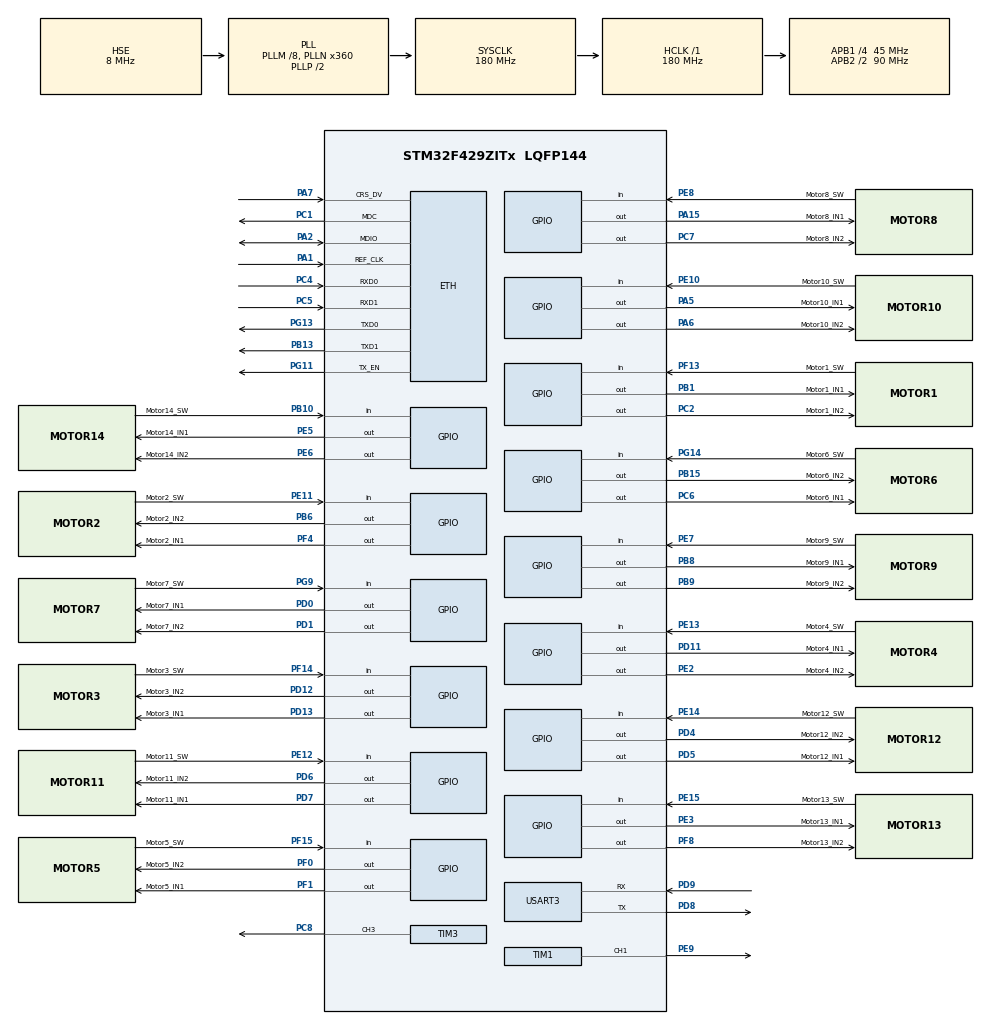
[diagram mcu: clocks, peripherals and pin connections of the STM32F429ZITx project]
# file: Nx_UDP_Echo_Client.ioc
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ETH.ChecksumMode=ETH_CHECKSUM_BY_HARDWARE
ETH.MACAddr=00\:11\:83\:45\:26\:20
ETH.MediaInterface=HAL_ETH_RMII_MODE
ETH.PhyAddress=0
ETH.RxMode=ETH_RXINTERRUPT_MODE
Mcu.Family=STM32F4
Mcu.Name=STM32F429ZITx
Mcu.Package=LQFP144
NVIC.ETH_IRQn=true\:7\:0\:true\:false\:true\:false\:false\:true\:true
NVIC.PriorityGroup=NVIC_PRIORITYGROUP_4
NVIC.TIM2_IRQn=true\:0\:0\:false\:false\:true\:false\:true\:true\:true
NVIC.TIM6_DAC_IRQn=true\:15\:0\:false\:false\:true\:false\:false\:true\:true
NVIC.TimeBase=TIM6_DAC_IRQn
NVIC.TimeBaseIP=TIM6
PA1.Mode=RMII
PA1.Signal=ETH_REF_CLK
PA15.GPIO_Label=Motor8_IN1
PA15.Signal=GPIO_Output
PA2.Mode=RMII
PA2.Signal=ETH_MDIO
PA5.GPIO_Label=Motor10_IN1
PA5.Signal=GPIO_Output
PA6.GPIO_Label=Motor10_IN2
PA6.Signal=GPIO_Output
PA7.Mode=RMII
PA7.Signal=ETH_CRS_DV
PB1.GPIO_Label=Motor1_IN1
PB1.Signal=GPIO_Output
PB10.GPIO_Label=Motor14_SW
PB10.GPIO_PuPd=GPIO_PULLUP
PB10.Signal=GPIO_Input
PB13.Mode=RMII
PB13.Signal=ETH_TXD1
PB15.GPIO_Label=Motor6_IN2
PB15.Signal=GPIO_Output
PB6.GPIO_Label=Motor2_IN2
PB6.Signal=GPIO_Output
PB8.GPIO_Label=Motor9_IN1
PB8.Signal=GPIO_Output
PB9.GPIO_Label=Motor9_IN2
PB9.Signal=GPIO_Output
PC1.Mode=RMII
PC1.Signal=ETH_MDC
PC2.GPIO_Label=Motor1_IN2
PC2.Signal=GPIO_Output
PC4.Mode=RMII
PC4.Signal=ETH_RXD0
PC5.Mode=RMII
PC5.Signal=ETH_RXD1
PC6.GPIO_Label=Motor6_IN1
PC6.Signal=GPIO_Output
PC7.GPIO_Label=Motor8_IN2
PC7.Signal=GPIO_Output
PC8.Signal=S_TIM3_CH3
PD0.GPIO_Label=Motor7_IN1
PD0.Signal=GPIO_Output
PD1.GPIO_Label=Motor7_IN2
PD1.Signal=GPIO_Output
PD11.GPIO_Label=Motor4_IN1
PD11.Signal=GPIO_Output
PD12.GPIO_Label=Motor3_IN2
PD12.Signal=GPIO_Output
PD13.GPIO_Label=Motor3_IN1
PD13.Signal=GPIO_Output
PD4.GPIO_Label=Motor12_IN2
PD4.Signal=GPIO_Output
PD5.GPIO_Label=Motor12_IN1
PD5.Signal=GPIO_Output
PD6.GPIO_Label=Motor11_IN2
PD6.Signal=GPIO_Output
PD7.GPIO_Label=Motor11_IN1
PD7.Signal=GPIO_Output
PD8.Mode=Asynchronous
PD8.Signal=USART3_TX
PD9.Mode=Asynchronous
PD9.Signal=USART3_RX
PE10.GPIO_Label=Motor10_SW
PE10.GPIO_PuPd=GPIO_PULLUP
PE10.Signal=GPIO_Input
PE11.GPIO_Label=Motor2_SW
PE11.GPIO_PuPd=GPIO_PULLUP
PE11.Signal=GPIO_Input
PE12.GPIO_Label=Motor11_SW
PE12.GPIO_PuPd=GPIO_PULLUP
PE12.Signal=GPIO_Input
PE13.GPIO_Label=Motor4_SW
PE13.GPIO_PuPd=GPIO_PULLUP
PE13.Signal=GPIO_Input
PE14.GPIO_Label=Motor12_SW
PE14.GPIO_PuPd=GPIO_PULLUP
PE14.Signal=GPIO_Input
PE15.GPIO_Label=Motor13_SW
PE15.GPIO_PuPd=GPIO_PULLUP
PE15.Signal=GPIO_Input
PE2.GPIO_Label=Motor4_IN2
PE2.Signal=GPIO_Output
PE3.GPIO_Label=Motor13_IN1
PE3.Signal=GPIO_Output
PE5.GPIO_Label=Motor14_IN1
PE5.Signal=GPIO_Output
PE6.GPIO_Label=Motor14_IN2
PE6.Signal=GPIO_Output
PE7.GPIO_Label=Motor9_SW
PE7.GPIO_PuPd=GPIO_PULLUP
PE7.Signal=GPIO_Input
PE8.GPIO_Label=Motor8_SW
PE8.GPIO_PuPd=GPIO_PULLUP
PE8.Signal=GPIO_Input
PE9.Signal=S_TIM1_CH1
PF0.GPIO_Label=Motor5_IN2
PF0.Signal=GPIO_Output
PF1.GPIO_Label=Motor5_IN1
PF1.Signal=GPIO_Output
PF13.GPIO_Label=Motor1_SW
PF13.GPIO_PuPd=GPIO_PULLUP
PF13.Signal=GPIO_Input
PF14.GPIO_Label=Motor3_SW
PF14.GPIO_PuPd=GPIO_PULLUP
PF14.Signal=GPIO_Input
PF15.GPIO_Label=Motor5_SW
PF15.GPIO_PuPd=GPIO_PULLUP
PF15.Signal=GPIO_Input
PF4.GPIO_Label=Motor2_IN1
PF4.Signal=GPIO_Output
PF8.GPIO_Label=Motor13_IN2
PF8.Signal=GPIO_Output
PG11.Mode=RMII
PG11.Signal=ETH_TX_EN
PG13.Mode=RMII
PG13.Signal=ETH_TXD0
PG14.GPIO_Label=Motor6_SW
PG14.GPIO_PuPd=GPIO_PULLUP
PG14.Signal=GPIO_Input
PG9.GPIO_Label=Motor7_SW
PG9.GPIO_PuPd=GPIO_PULLUP
PG9.Signal=GPIO_Input
PH0/OSC_IN.Mode=HSE-External-Clock-Source
PH0/OSC_IN.Signal=RCC_OSC_IN
PH1/OSC_OUT.Mode=HSE-External-Clock-Source
PH1/OSC_OUT.Signal=RCC_OSC_OUT
ProjectManager.HeapSize=0x200
ProjectManager.StackSize=0x400
ProjectManager.TargetToolchain=STM32CubeIDE
RCC.48MHZClocksFreq_Value=120000000
RCC.AHBFreq_Value=180000000
RCC.APB1CLKDivider=RCC_HCLK_DIV4
RCC.APB1Freq_Value=45000000
RCC.APB1TimFreq_Value=90000000
RCC.APB2CLKDivider=RCC_HCLK_DIV2
RCC.APB2Freq_Value=90000000
RCC.APB2TimFreq_Value=180000000
RCC.CortexFreq_Value=180000000
RCC.HCLKFreq_Value=180000000
RCC.HSE_VALUE=8000000
RCC.HSI_VALUE=16000000
RCC.LSE_VALUE=32768
RCC.PLLM=8
RCC.PLLN=360
RCC.PLLQ=3
RCC.PLLSourceVirtual=RCC_PLLSOURCE_HSE
RCC.SYSCLKFreq_VALUE=180000000
RCC.SYSCLKSource=RCC_SYSCLKSOURCE_PLLCLK
RCC.VCOOutputFreq_Value=360000000
SH.S_TIM1_CH1.0=TIM1_CH1,PWM Generation1 CH1
SH.S_TIM3_CH3.0=TIM3_CH3,PWM Generation3 CH3
STMicroelectronics.X-CUBE-AZRTOS-F4.1.1.0.AZUREIiRTOSIiApplicationsCcDeviceJjApplication=azureIirtosIiapp
STMicroelectronics.X-CUBE-AZRTOS-F4.1.1.0.AZUREIiRTOSIiApplicationsCcDeviceJjHWIiProfile=STM32F429ZIIiNUCLEO
STMicroelectronics.X-CUBE-AZRTOS-F4.1.1.0.InterfacesCcNetworkJjEthernetOoInterface=true
STMicroelectronics.X-CUBE-AZRTOS-F4.1.1.0.InterfacesCcNetworkJjEthernetOoPhyOoInterface=LAN8742IiPhyIiInterface
STMicroelectronics.X-CUBE-AZRTOS-F4.1.1.0.NX_APP_MEM_POOL_SIZE=30 * 1024
STMicroelectronics.X-CUBE-AZRTOS-F4.1.1.0.NX_ENABLE_INTERFACE_CAPABILITY=true
STMicroelectronics.X-CUBE-AZRTOS-F4.1.1.0.NetXDuoCcNetworkJjNetXDuoJjAddonsOoDHCPOoClient=true
STMicroelectronics.X-CUBE-AZRTOS-F4.1.1.0.NetXDuoCcNetworkJjNetXDuoJjNXOoCore=true
STMicroelectronics.X-CUBE-AZRTOS-F4.1.1.0.STM32CubeIiBSPIiComponentsCcBoardOoPartJjETHPhyJjLAN8742=true
STMicroelectronics.X-CUBE-AZRTOS-F4.1.1.0.TX_DISABLE_NOTIFY_CALLBACKS=0
STMicroelectronics.X-CUBE-AZRTOS-F4.1.1.0.TX_DISABLE_PREEMPTION_THRESHOLD=1
STMicroelectronics.X-CUBE-AZRTOS-F4.1.1.0.TX_ENABLE_EXECUTION_CHANGE_NOTIFY=1
STMicroelectronics.X-CUBE-AZRTOS-F4.1.1.0.ThreadXCcRTOSJjThreadXJjCore=true
STMicroelectronics.X-CUBE-AZRTOS-F4.1.1.0_IsAnAzureRtosMw=true
TIM1.Channel-PWM\ Generation1\ CH1=TIM_CHANNEL_1
TIM1.Period=999
TIM1.Pulse-PWM\ Generation1\ CH1=499
TIM2.Period=1000
TIM2.Prescaler=90-1
TIM3.Channel-PWM\ Generation3\ CH3=TIM_CHANNEL_3
TIM3.Period=999
TIM3.Pulse-PWM\ Generation3\ CH3=499
USART3.VirtualMode=VM_ASYNC
VP_STMicroelectronics.X-CUBE-AZRTOS-F4_VS_BoardOoPartJjSTM32CubeIiBSPIiComponents_1.1.0_1.1.0.Mode=BoardOoPartJjSTM32CubeIiBSPIiComponents
VP_STMicroelectronics.X-CUBE-AZRTOS-F4_VS_NetworkJjInterfaces_2.1.0_1.1.0.Mode=NetworkJjInterfaces
VP_STMicroelectronics.X-CUBE-AZRTOS-F4_VS_NetworkJjNetXDuo_6.1.10_1.1.0.Mode=NetworkJjNetXDuo
VP_STMicroelectronics.X-CUBE-AZRTOS-F4_VS_RTOSJjThreadX_6.1.10_1.1.0.Mode=RTOSJjThreadX
VP_SYS_VS_tim6.Mode=TIM6
VP_TIM2_VS_ClockSourceINT.Mode=Internal
board=NUCLEO-F429ZI

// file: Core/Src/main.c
/* USER CODE BEGIN Header */
/**
 ******************************************************************************
 * @file           : main.c
 * @brief          : Main program body
 ******************************************************************************
 * @attention
 *
 * Copyright (c) 2021 STMicroelectronics.
 * All rights reserved.
 *
 * This software is licensed under terms that can be found in the LICENSE file
 * in the root directory of this software component.
 * If no LICENSE file comes with this software, it is provided AS-IS.
 *
 ******************************************************************************
 */
/* USER CODE END Header */
#include "app_threadx.h"
#include "main.h"
#include "string.h"

/* USER CODE BEGIN Includes */
#include <stdio.h>
/* USER CODE END Includes */

/* USER CODE BEGIN PM */
#if defined ( __GNUC__) && !defined(__clang__)
/* With GCC, small printf (option LD Linker->Libraries->Small printf
 set to 'Yes') calls __io_putchar() */
#define PUTCHAR_PROTOTYPE int __io_putchar(int ch)
#else
#define PUTCHAR_PROTOTYPE int fputc(int ch, FILE *f)
#endif /* __GNUC__ */

/* USER CODE END PM */

ETH_TxPacketConfig TxConfig;
ETH_DMADescTypeDef  DMARxDscrTab[ETH_RX_DESC_CNT]; /* Ethernet Rx DMA Descriptors */
ETH_DMADescTypeDef  DMATxDscrTab[ETH_TX_DESC_CNT]; /* Ethernet Tx DMA Descriptors */

ETH_HandleTypeDef heth;

TIM_HandleTypeDef htim1;
TIM_HandleTypeDef htim2;
TIM_HandleTypeDef htim3;

UART_HandleTypeDef huart3;

void SystemClock_Config(void);
static void MX_GPIO_Init(void);
static void MX_ETH_Init(void);
static void MX_USART3_UART_Init(void);
static void MX_TIM1_Init(void);
static void MX_TIM2_Init(void);
static void MX_TIM3_Init(void);

/* USER CODE BEGIN 0 */
typedef struct GPIOPin {
	GPIO_TypeDef *GPIO_Port;
	uint16_t GPIO_Pin;
} GPIOPin;
typedef struct Motor {
	GPIOPin IN1;
	GPIOPin IN2;
	GPIOPin SW;
	uint32_t counter;
	uint32_t swState;
} Motor;
Motor motors[14];
//uint32_t resetCounter;
void Success_Handler(void) {
	BSP_LED_Off(LED_RED);
	while (1) {
		BSP_LED_Toggle(LED_GREEN);
		HAL_Delay(200);
	}
//  HAL_GPIO_WritePin (LED_RED_GPIO_Port, LED_RED_Pin, GPIO_PIN_RESET);
//  while(1)
//  {
//    HAL_GPIO_TogglePin(LED_GREEN_GPIO_Port, LED_GREEN_Pin);
//    tx_thread_sleep(50);
//  }
}
/* USER CODE END 0 */

int main(void)
{

  /* USER CODE BEGIN 1 */
	Motor m[] = { { { Motor1_IN1_GPIO_Port, Motor1_IN1_Pin }, {
			Motor1_IN2_GPIO_Port, Motor1_IN2_Pin }, { Motor1_SW_GPIO_Port,
			Motor1_SW_Pin }, 0, 1 }, { { Motor2_IN1_GPIO_Port, Motor2_IN1_Pin },
			{ Motor2_IN2_GPIO_Port, Motor2_IN2_Pin }, { Motor2_SW_GPIO_Port,
					Motor2_SW_Pin }, 0, 1 }, { { Motor3_IN1_GPIO_Port,
			Motor3_IN1_Pin }, { Motor3_IN2_GPIO_Port, Motor3_IN2_Pin }, {
			Motor3_SW_GPIO_Port, Motor3_SW_Pin }, 0, 1 }, { {
			Motor4_IN1_GPIO_Port, Motor4_IN1_Pin }, { Motor4_IN2_GPIO_Port,
			Motor4_IN2_Pin }, { Motor4_SW_GPIO_Port, Motor4_SW_Pin }, 0, 1 }, {
			{ Motor5_IN1_GPIO_Port, Motor5_IN1_Pin }, { Motor5_IN2_GPIO_Port,
					Motor5_IN2_Pin }, { Motor5_SW_GPIO_Port, Motor5_SW_Pin }, 0,
			1 }, { { Motor6_IN1_GPIO_Port, Motor6_IN1_Pin }, {
			Motor6_IN2_GPIO_Port, Motor6_IN2_Pin }, { Motor6_SW_GPIO_Port,
			Motor6_SW_Pin }, 0, 1 }, { { Motor7_IN1_GPIO_Port, Motor7_IN1_Pin },
			{ Motor7_IN2_GPIO_Port, Motor7_IN2_Pin }, { Motor7_SW_GPIO_Port,
					Motor7_SW_Pin }, 0, 1 }, { { Motor8_IN1_GPIO_Port,
			Motor8_IN1_Pin }, { Motor8_IN2_GPIO_Port, Motor8_IN2_Pin }, {
			Motor8_SW_GPIO_Port, Motor8_SW_Pin }, 0, 1 }, { {
			Motor9_IN1_GPIO_Port, Motor9_IN1_Pin }, { Motor9_IN2_GPIO_Port,
			Motor9_IN2_Pin }, { Motor9_SW_GPIO_Port, Motor9_SW_Pin }, 0, 1 }, {
			{ Motor10_IN1_GPIO_Port, Motor10_IN1_Pin }, { Motor10_IN2_GPIO_Port,
					Motor10_IN2_Pin }, { Motor10_SW_GPIO_Port, Motor10_SW_Pin },
			0, 1 }, { { Motor11_IN1_GPIO_Port, Motor11_IN1_Pin }, {
			Motor11_IN2_GPIO_Port, Motor11_IN2_Pin }, { Motor11_SW_GPIO_Port,
			Motor11_SW_Pin }, 0, 1 }, {
			{ Motor12_IN1_GPIO_Port, Motor12_IN1_Pin }, { Motor12_IN2_GPIO_Port,
					Motor12_IN2_Pin }, { Motor12_SW_GPIO_Port, Motor12_SW_Pin },
			0, 1 }, { { Motor13_IN1_GPIO_Port, Motor13_IN1_Pin }, {
			Motor13_IN2_GPIO_Port, Motor13_IN2_Pin }, { Motor13_SW_GPIO_Port,
			Motor13_SW_Pin }, 0, 1 }, {
			{ Motor14_IN1_GPIO_Port, Motor14_IN1_Pin }, { Motor14_IN2_GPIO_Port,
					Motor14_IN2_Pin }, { Motor14_SW_GPIO_Port, Motor14_SW_Pin },
			0, 1 } };
	for (int i = 0; i < sizeof(motors) / sizeof(motors[0]); i++) {
		motors[i] = m[i];
	}
  /* USER CODE END 1 */

  /* MCU Configuration--------------------------------------------------------*/

  /* Reset of all peripherals, Initializes the Flash interface and the Systick. */
  HAL_Init();

  /* Configure the system clock */
  SystemClock_Config();

  /* USER CODE BEGIN SysInit */
	BSP_LED_Init(LED_GREEN);
	BSP_LED_Init(LED_RED);
  /* USER CODE END SysInit */

  /* Initialize all configured peripherals */
  MX_GPIO_Init();
  MX_ETH_Init();
  MX_USART3_UART_Init();
  MX_TIM1_Init();
  MX_TIM2_Init();
  MX_TIM3_Init();
  /* USER CODE BEGIN 2 */
	HAL_TIM_PWM_Start(&htim1, TIM_CHANNEL_1);
	HAL_TIM_PWM_Start(&htim3, TIM_CHANNEL_3);
	HAL_TIM_Base_Start_IT(&htim2);
	// stop all motors
	for (int i = 0; i < (sizeof(motors) / sizeof(motors[0])); i++) {
		stopMotor(i);
		motors[i].swState = 1;
	}
//	resetCounter = 0;
  /* USER CODE END 2 */

  MX_ThreadX_Init();

  /* We should never get here as control is now taken by the scheduler */

  /* Infinite loop */
	while (1) {

	}
}

void SystemClock_Config(void)
{
  RCC_OscInitTypeDef RCC_OscInitStruct = {0};
  RCC_ClkInitTypeDef RCC_ClkInitStruct = {0};

  /** Configure the main internal regulator output voltage
  */
  __HAL_RCC_PWR_CLK_ENABLE();
  __HAL_PWR_VOLTAGESCALING_CONFIG(PWR_REGULATOR_VOLTAGE_SCALE1);

  /** Initializes the RCC Oscillators according to the specified parameters
  * in the RCC_OscInitTypeDef structure.
  */
  RCC_OscInitStruct.OscillatorType = RCC_OSCILLATORTYPE_HSE;
  RCC_OscInitStruct.HSEState = RCC_HSE_BYPASS;
  RCC_OscInitStruct.PLL.PLLState = RCC_PLL_ON;
  RCC_OscInitStruct.PLL.PLLSource = RCC_PLLSOURCE_HSE;
  RCC_OscInitStruct.PLL.PLLM = 8;
  RCC_OscInitStruct.PLL.PLLN = 360;
  RCC_OscInitStruct.PLL.PLLP = RCC_PLLP_DIV2;
  RCC_OscInitStruct.PLL.PLLQ = 3;
  if (HAL_RCC_OscConfig(&RCC_OscInitStruct) != HAL_OK)
  {
    Error_Handler();
  }

  /** Activate the Over-Drive mode
  */
  if (HAL_PWREx_EnableOverDrive() != HAL_OK)
  {
    Error_Handler();
  }

  /** Initializes the CPU, AHB and APB buses clocks
  */
  RCC_ClkInitStruct.ClockType = RCC_CLOCKTYPE_HCLK|RCC_CLOCKTYPE_SYSCLK
                              |RCC_CLOCKTYPE_PCLK1|RCC_CLOCKTYPE_PCLK2;
  RCC_ClkInitStruct.SYSCLKSource = RCC_SYSCLKSOURCE_PLLCLK;
  RCC_ClkInitStruct.AHBCLKDivider = RCC_SYSCLK_DIV1;
  RCC_ClkInitStruct.APB1CLKDivider = RCC_HCLK_DIV4;
  RCC_ClkInitStruct.APB2CLKDivider = RCC_HCLK_DIV2;

  if (HAL_RCC_ClockConfig(&RCC_ClkInitStruct, FLASH_LATENCY_5) != HAL_OK)
  {
    Error_Handler();
  }
}

static void MX_ETH_Init(void)
{

   static uint8_t MACAddr[6];

  heth.Instance = ETH;
  MACAddr[0] = 0x00;
  MACAddr[1] = 0x11;
  MACAddr[2] = 0x83;
  MACAddr[3] = 0x45;
  MACAddr[4] = 0x26;
  MACAddr[5] = 0x20;
  heth.Init.MACAddr = &MACAddr[0];
  heth.Init.MediaInterface = HAL_ETH_RMII_MODE;
  heth.Init.TxDesc = DMATxDscrTab;
  heth.Init.RxDesc = DMARxDscrTab;
  heth.Init.RxBuffLen = 1536;

  if (HAL_ETH_Init(&heth) != HAL_OK)
  {
    Error_Handler();
  }

  memset(&TxConfig, 0 , sizeof(ETH_TxPacketConfig));
  TxConfig.Attributes = ETH_TX_PACKETS_FEATURES_CSUM | ETH_TX_PACKETS_FEATURES_CRCPAD;
  TxConfig.ChecksumCtrl = ETH_CHECKSUM_IPHDR_PAYLOAD_INSERT_PHDR_CALC;
  TxConfig.CRCPadCtrl = ETH_CRC_PAD_INSERT;

}

static void MX_TIM1_Init(void)
{

  TIM_MasterConfigTypeDef sMasterConfig = {0};
  TIM_OC_InitTypeDef sConfigOC = {0};
  TIM_BreakDeadTimeConfigTypeDef sBreakDeadTimeConfig = {0};

  htim1.Instance = TIM1;
  htim1.Init.Prescaler = 0;
  htim1.Init.CounterMode = TIM_COUNTERMODE_UP;
  htim1.Init.Period = 999;
  htim1.Init.ClockDivision = TIM_CLOCKDIVISION_DIV1;
  htim1.Init.RepetitionCounter = 0;
  htim1.Init.AutoReloadPreload = TIM_AUTORELOAD_PRELOAD_DISABLE;
  if (HAL_TIM_PWM_Init(&htim1) != HAL_OK)
  {
    Error_Handler();
  }
  sMasterConfig.MasterOutputTrigger = TIM_TRGO_RESET;
  sMasterConfig.MasterSlaveMode = TIM_MASTERSLAVEMODE_DISABLE;
  if (HAL_TIMEx_MasterConfigSynchronization(&htim1, &sMasterConfig) != HAL_OK)
  {
    Error_Handler();
  }
  sConfigOC.OCMode = TIM_OCMODE_PWM1;
  sConfigOC.Pulse = 499;
  sConfigOC.OCPolarity = TIM_OCPOLARITY_HIGH;
  sConfigOC.OCNPolarity = TIM_OCNPOLARITY_HIGH;
  sConfigOC.OCFastMode = TIM_OCFAST_DISABLE;
  sConfigOC.OCIdleState = TIM_OCIDLESTATE_RESET;
  sConfigOC.OCNIdleState = TIM_OCNIDLESTATE_RESET;
  if (HAL_TIM_PWM_ConfigChannel(&htim1, &sConfigOC, TIM_CHANNEL_1) != HAL_OK)
  {
    Error_Handler();
  }
  sBreakDeadTimeConfig.OffStateRunMode = TIM_OSSR_DISABLE;
  sBreakDeadTimeConfig.OffStateIDLEMode = TIM_OSSI_DISABLE;
  sBreakDeadTimeConfig.LockLevel = TIM_LOCKLEVEL_OFF;
  sBreakDeadTimeConfig.DeadTime = 0;
  sBreakDeadTimeConfig.BreakState = TIM_BREAK_DISABLE;
  sBreakDeadTimeConfig.BreakPolarity = TIM_BREAKPOLARITY_HIGH;
  sBreakDeadTimeConfig.AutomaticOutput = TIM_AUTOMATICOUTPUT_DISABLE;
  if (HAL_TIMEx_ConfigBreakDeadTime(&htim1, &sBreakDeadTimeConfig) != HAL_OK)
  {
    Error_Handler();
  }
  HAL_TIM_MspPostInit(&htim1);

}

static void MX_TIM2_Init(void)
{

  TIM_ClockConfigTypeDef sClockSourceConfig = {0};
  TIM_MasterConfigTypeDef sMasterConfig = {0};

  htim2.Instance = TIM2;
  htim2.Init.Prescaler = 90-1;
  htim2.Init.CounterMode = TIM_COUNTERMODE_UP;
  htim2.Init.Period = 1000;
  htim2.Init.ClockDivision = TIM_CLOCKDIVISION_DIV1;
  htim2.Init.AutoReloadPreload = TIM_AUTORELOAD_PRELOAD_DISABLE;
  if (HAL_TIM_Base_Init(&htim2) != HAL_OK)
  {
    Error_Handler();
  }
  sClockSourceConfig.ClockSource = TIM_CLOCKSOURCE_INTERNAL;
  if (HAL_TIM_ConfigClockSource(&htim2, &sClockSourceConfig) != HAL_OK)
  {
    Error_Handler();
  }
  sMasterConfig.MasterOutputTrigger = TIM_TRGO_RESET;
  sMasterConfig.MasterSlaveMode = TIM_MASTERSLAVEMODE_DISABLE;
  if (HAL_TIMEx_MasterConfigSynchronization(&htim2, &sMasterConfig) != HAL_OK)
  {
    Error_Handler();
  }

}

static void MX_TIM3_Init(void)
{

  TIM_MasterConfigTypeDef sMasterConfig = {0};
  TIM_OC_InitTypeDef sConfigOC = {0};

  htim3.Instance = TIM3;
  htim3.Init.Prescaler = 0;
  htim3.Init.CounterMode = TIM_COUNTERMODE_UP;
  htim3.Init.Period = 999;
  htim3.Init.ClockDivision = TIM_CLOCKDIVISION_DIV1;
  htim3.Init.AutoReloadPreload = TIM_AUTORELOAD_PRELOAD_DISABLE;
  if (HAL_TIM_PWM_Init(&htim3) != HAL_OK)
  {
    Error_Handler();
  }
  sMasterConfig.MasterOutputTrigger = TIM_TRGO_RESET;
  sMasterConfig.MasterSlaveMode = TIM_MASTERSLAVEMODE_DISABLE;
  if (HAL_TIMEx_MasterConfigSynchronization(&htim3, &sMasterConfig) != HAL_OK)
  {
    Error_Handler();
  }
  sConfigOC.OCMode = TIM_OCMODE_PWM1;
  sConfigOC.Pulse = 499;
  sConfigOC.OCPolarity = TIM_OCPOLARITY_HIGH;
  sConfigOC.OCFastMode = TIM_OCFAST_DISABLE;
  if (HAL_TIM_PWM_ConfigChannel(&htim3, &sConfigOC, TIM_CHANNEL_3) != HAL_OK)
  {
    Error_Handler();
  }
  HAL_TIM_MspPostInit(&htim3);

}

static void MX_USART3_UART_Init(void)
{

  huart3.Instance = USART3;
  huart3.Init.BaudRate = 115200;
  huart3.Init.WordLength = UART_WORDLENGTH_8B;
  huart3.Init.StopBits = UART_STOPBITS_1;
  huart3.Init.Parity = UART_PARITY_NONE;
  huart3.Init.Mode = UART_MODE_TX_RX;
  huart3.Init.HwFlowCtl = UART_HWCONTROL_NONE;
  huart3.Init.OverSampling = UART_OVERSAMPLING_16;
  if (HAL_UART_Init(&huart3) != HAL_OK)
  {
    Error_Handler();
  }

}

static void MX_GPIO_Init(void)
{
  GPIO_InitTypeDef GPIO_InitStruct = {0};

  /* GPIO Ports Clock Enable */
  __HAL_RCC_GPIOE_CLK_ENABLE();
  __HAL_RCC_GPIOF_CLK_ENABLE();
  __HAL_RCC_GPIOH_CLK_ENABLE();
  __HAL_RCC_GPIOC_CLK_ENABLE();
  __HAL_RCC_GPIOA_CLK_ENABLE();
  __HAL_RCC_GPIOB_CLK_ENABLE();
  __HAL_RCC_GPIOD_CLK_ENABLE();
  __HAL_RCC_GPIOG_CLK_ENABLE();

  /*Configure GPIO pin Output Level */
  HAL_GPIO_WritePin(GPIOE, Motor4_IN2_Pin|Motor13_IN1_Pin|Motor14_IN1_Pin|Motor14_IN2_Pin, GPIO_PIN_RESET);

  /*Configure GPIO pin Output Level */
  HAL_GPIO_WritePin(GPIOF, Motor5_IN2_Pin|Motor5_IN1_Pin|Motor2_IN1_Pin|Motor13_IN2_Pin, GPIO_PIN_RESET);

  /*Configure GPIO pin Output Level */
  HAL_GPIO_WritePin(GPIOC, Motor1_IN2_Pin|Motor6_IN1_Pin|Motor8_IN2_Pin, GPIO_PIN_RESET);

  /*Configure GPIO pin Output Level */
  HAL_GPIO_WritePin(GPIOA, Motor10_IN1_Pin|Motor10_IN2_Pin|Motor8_IN1_Pin, GPIO_PIN_RESET);

  /*Configure GPIO pin Output Level */
  HAL_GPIO_WritePin(GPIOB, Motor1_IN1_Pin|Motor6_IN2_Pin|Motor2_IN2_Pin|Motor9_IN1_Pin
                          |Motor9_IN2_Pin, GPIO_PIN_RESET);

  /*Configure GPIO pin Output Level */
  HAL_GPIO_WritePin(GPIOD, Motor4_IN1_Pin|Motor3_IN2_Pin|Motor3_IN1_Pin|Motor7_IN1_Pin
                          |Motor7_IN2_Pin|Motor12_IN2_Pin|Motor12_IN1_Pin|Motor11_IN2_Pin
                          |Motor11_IN1_Pin, GPIO_PIN_RESET);

  /*Configure GPIO pins : Motor4_IN2_Pin Motor13_IN1_Pin Motor14_IN1_Pin Motor14_IN2_Pin */
  GPIO_InitStruct.Pin = Motor4_IN2_Pin|Motor13_IN1_Pin|Motor14_IN1_Pin|Motor14_IN2_Pin;
  GPIO_InitStruct.Mode = GPIO_MODE_OUTPUT_PP;
  GPIO_InitStruct.Pull = GPIO_NOPULL;
  GPIO_InitStruct.Speed = GPIO_SPEED_FREQ_LOW;
  HAL_GPIO_Init(GPIOE, &GPIO_InitStruct);

  /*Configure GPIO pins : Motor5_IN2_Pin Motor5_IN1_Pin Motor2_IN1_Pin Motor13_IN2_Pin */
  GPIO_InitStruct.Pin = Motor5_IN2_Pin|Motor5_IN1_Pin|Motor2_IN1_Pin|Motor13_IN2_Pin;
  GPIO_InitStruct.Mode = GPIO_MODE_OUTPUT_PP;
  GPIO_InitStruct.Pull = GPIO_NOPULL;
  GPIO_InitStruct.Speed = GPIO_SPEED_FREQ_LOW;
  HAL_GPIO_Init(GPIOF, &GPIO_InitStruct);

  /*Configure GPIO pins : Motor1_IN2_Pin Motor6_IN1_Pin Motor8_IN2_Pin */
  GPIO_InitStruct.Pin = Motor1_IN2_Pin|Motor6_IN1_Pin|Motor8_IN2_Pin;
  GPIO_InitStruct.Mode = GPIO_MODE_OUTPUT_PP;
  GPIO_InitStruct.Pull = GPIO_NOPULL;
  GPIO_InitStruct.Speed = GPIO_SPEED_FREQ_LOW;
  HAL_GPIO_Init(GPIOC, &GPIO_InitStruct);

  /*Configure GPIO pins : Motor10_IN1_Pin Motor10_IN2_Pin Motor8_IN1_Pin */
  GPIO_InitStruct.Pin = Motor10_IN1_Pin|Motor10_IN2_Pin|Motor8_IN1_Pin;
  GPIO_InitStruct.Mode = GPIO_MODE_OUTPUT_PP;
  GPIO_InitStruct.Pull = GPIO_NOPULL;
  GPIO_InitStruct.Speed = GPIO_SPEED_FREQ_LOW;
  HAL_GPIO_Init(GPIOA, &GPIO_InitStruct);

  /*Configure GPIO pins : Motor1_IN1_Pin Motor6_IN2_Pin Motor2_IN2_Pin Motor9_IN1_Pin
                           Motor9_IN2_Pin */
  GPIO_InitStruct.Pin = Motor1_IN1_Pin|Motor6_IN2_Pin|Motor2_IN2_Pin|Motor9_IN1_Pin
                          |Motor9_IN2_Pin;
  GPIO_InitStruct.Mode = GPIO_MODE_OUTPUT_PP;
  GPIO_InitStruct.Pull = GPIO_NOPULL;
  GPIO_InitStruct.Speed = GPIO_SPEED_FREQ_LOW;
  HAL_GPIO_Init(GPIOB, &GPIO_InitStruct);

  /*Configure GPIO pins : Motor1_SW_Pin Motor3_SW_Pin Motor5_SW_Pin */
  GPIO_InitStruct.Pin = Motor1_SW_Pin|Motor3_SW_Pin|Motor5_SW_Pin;
  GPIO_InitStruct.Mode = GPIO_MODE_INPUT;
  GPIO_InitStruct.Pull = GPIO_PULLUP;
  HAL_GPIO_Init(GPIOF, &GPIO_InitStruct);

  /*Configure GPIO pins : Motor9_SW_Pin Motor8_SW_Pin Motor10_SW_Pin Motor2_SW_Pin
                           Motor11_SW_Pin Motor4_SW_Pin Motor12_SW_Pin Motor13_SW_Pin */
  GPIO_InitStruct.Pin = Motor9_SW_Pin|Motor8_SW_Pin|Motor10_SW_Pin|Motor2_SW_Pin
                          |Motor11_SW_Pin|Motor4_SW_Pin|Motor12_SW_Pin|Motor13_SW_Pin;
  GPIO_InitStruct.Mode = GPIO_MODE_INPUT;
  GPIO_InitStruct.Pull = GPIO_PULLUP;
  HAL_GPIO_Init(GPIOE, &GPIO_InitStruct);

  /*Configure GPIO pin : Motor14_SW_Pin */
  GPIO_InitStruct.Pin = Motor14_SW_Pin;
  GPIO_InitStruct.Mode = GPIO_MODE_INPUT;
  GPIO_InitStruct.Pull = GPIO_PULLUP;
  HAL_GPIO_Init(Motor14_SW_GPIO_Port, &GPIO_InitStruct);

  /*Configure GPIO pins : Motor4_IN1_Pin Motor3_IN2_Pin Motor3_IN1_Pin Motor7_IN1_Pin
                           Motor7_IN2_Pin Motor12_IN2_Pin Motor12_IN1_Pin Motor11_IN2_Pin
                           Motor11_IN1_Pin */
  GPIO_InitStruct.Pin = Motor4_IN1_Pin|Motor3_IN2_Pin|Motor3_IN1_Pin|Motor7_IN1_Pin
                          |Motor7_IN2_Pin|Motor12_IN2_Pin|Motor12_IN1_Pin|Motor11_IN2_Pin
                          |Motor11_IN1_Pin;
  GPIO_InitStruct.Mode = GPIO_MODE_OUTPUT_PP;
  GPIO_InitStruct.Pull = GPIO_NOPULL;
  GPIO_InitStruct.Speed = GPIO_SPEED_FREQ_LOW;
  HAL_GPIO_Init(GPIOD, &GPIO_InitStruct);

  /*Configure GPIO pins : Motor7_SW_Pin Motor6_SW_Pin */
  GPIO_InitStruct.Pin = Motor7_SW_Pin|Motor6_SW_Pin;
  GPIO_InitStruct.Mode = GPIO_MODE_INPUT;
  GPIO_InitStruct.Pull = GPIO_PULLUP;
  HAL_GPIO_Init(GPIOG, &GPIO_InitStruct);

}

/* USER CODE BEGIN 4 */
/**
 * @brief  Retargets the C library printf function to the USART.
 * @param  None
 * @retval None
 */
PUTCHAR_PROTOTYPE {
	/* Place your implementation of fputc here */
	/* e.g. write a character to the USART1 and Loop until the end of transmission */
	HAL_UART_Transmit(&huart3, (uint8_t*) &ch, 1, 0xFFFF);

	return ch;
}

/**
 * @brief  This function is executed in case of success.
 * @retval None
 */
//void Success_Handler(void)
//{
//  /* USER CODE BEGIN Success_Handler_Debug */
//  BSP_LED_Off(LED_RED);
//  while(1)
//  {
//    BSP_LED_Toggle(LED_GREEN);
//    tx_thread_sleep(50);
//  }
//  /* USER CODE END Success_Handler_Debug */
//}
void stopMotor(int motor_idx) {
//	printf("%d\n", motor_idx);
	HAL_GPIO_WritePin(motors[motor_idx].IN1.GPIO_Port,
			motors[motor_idx].IN1.GPIO_Pin, GPIO_PIN_RESET);
	HAL_GPIO_WritePin(motors[motor_idx].IN2.GPIO_Port,
			motors[motor_idx].IN2.GPIO_Pin, GPIO_PIN_RESET);
	motors[motor_idx].counter = 0;
	motors[motor_idx].swState = 1;
}
void controlSpeed(float speed) {
	uint32_t sp = (int) (speed * htim1.Init.Period);
	TIM1->CCR1 = sp;
	TIM3->CCR3 = sp;
}
void controlMotor(int motor_idx, uint32_t duration, char direction) {
	if (duration == 0) {
		return;
	}
	GPIO_PinState in1_state = direction == 0 ? GPIO_PIN_RESET : GPIO_PIN_SET;
	GPIO_PinState in2_state = direction == 0 ? GPIO_PIN_SET : GPIO_PIN_RESET;
	HAL_GPIO_WritePin(motors[motor_idx].IN1.GPIO_Port,
			motors[motor_idx].IN1.GPIO_Pin, in1_state);
	HAL_GPIO_WritePin(motors[motor_idx].IN2.GPIO_Port,
			motors[motor_idx].IN2.GPIO_Pin, in2_state);
//	printf("start motor %d\n", motor_idx);
	motors[motor_idx].counter = duration;
}
//void updateReset(uint32_t value)
//{
//	if(resetCounter<value+1000)
//	{
//		resetCounter = value+1000;
//	}
//}
//void HAL_GPIO_EXTI_Falling_Callback(uint16_t GPIO_Pin)
//{
//	printf("%d\n", GPIO_Pin);
//	for (int i = 0; i < sizeof(motors) / sizeof(motors[0]); i++) {
//		if(motors[i].SW.GPIO_Pin==GPIO_Pin && motors[i].counter)
//		{
//			printf("stop motor %d\n", i);
//			stopMotor(i);
//		}
//	}
//}

/* USER CODE END 4 */

void HAL_TIM_PeriodElapsedCallback(TIM_HandleTypeDef *htim)
{
  if (htim->Instance == TIM6) {
    HAL_IncTick();
  }
  /* USER CODE BEGIN Callback 1 */

	if (htim->Instance == TIM2) {

		for (int i = 0; i < MOTOR_COUNT; i++) {
			GPIO_PinState sw = HAL_GPIO_ReadPin(motors[i].SW.GPIO_Port,
					motors[i].SW.GPIO_Pin);
			if (sw == GPIO_PIN_RESET && sw != motors[i].swState
					&& motors[i].counter) {
//				printf("stop motor %d\n", i);
				stopMotor(i);
			} else {
				if (motors[i].counter == 1) {
//					printf("stop motor %d\n", i);
					stopMotor(i);
				}
				if (motors[i].counter) {
					motors[i].counter--;
				}
			}
			motors[i].swState = sw;
		}
//		if(resetCounter==1)
//		{
//			for(int i=0;i<MOTOR_COUNT;i++)
//			{
//				controlMotor(i, 3000, 0);
//			}
//		}
//		if(resetCounter)
//		{
//			resetCounter--;
//		}

//	printf("%d\n", result);
	}
  /* USER CODE END Callback 1 */
}

void Error_Handler(void)
{
  /* USER CODE BEGIN Error_Handler_Debug */
	/* User can add his own implementation to report the HAL error return state */
	BSP_LED_Off(LED_GREEN);
	while (1) {
		BSP_LED_Toggle(LED_RED);
		HAL_Delay(200);
	}
  /* USER CODE END Error_Handler_Debug */
}
